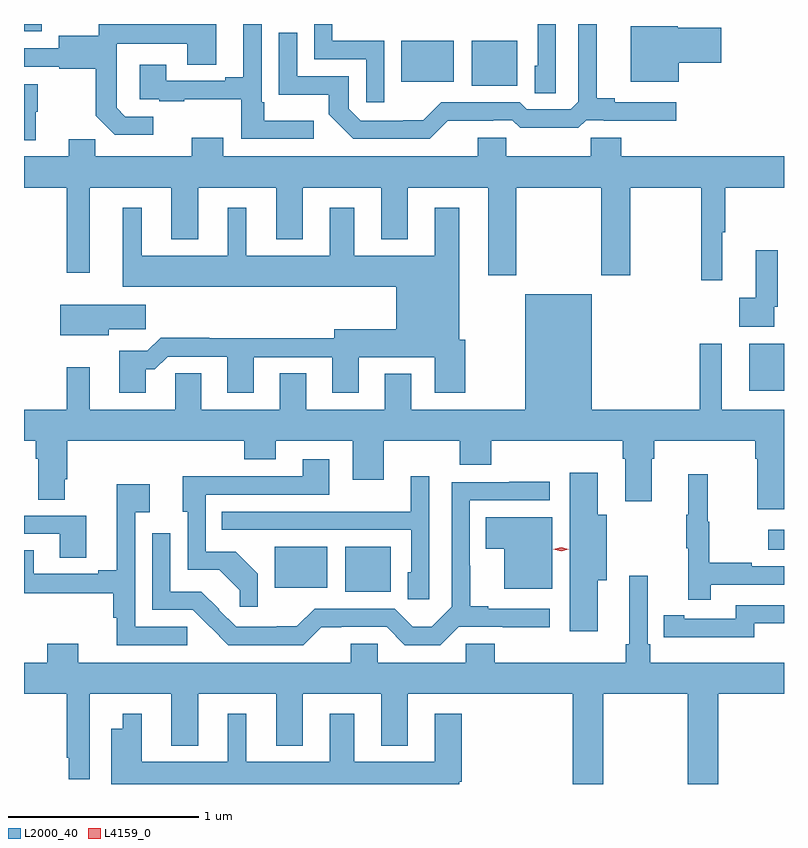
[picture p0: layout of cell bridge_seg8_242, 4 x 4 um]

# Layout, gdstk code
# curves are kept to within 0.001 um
import gdstk
lib = gdstk.Library(unit=1e-6, precision=1e-09)
def R(c, l, rs):  # rectangles x0, y0, x1, y1
    for r in rs: c.add(gdstk.rectangle(r[:2], r[2:], *l))
def P(c, l, *ps):  # polygons
    for p in ps: c.add(gdstk.Polygon(p, *l))
L2000_40 = (2000, 40)
L4159_0 = (4159, 0)

bridge_seg8_242 = lib.new_cell('bridge_seg8_242')
R(bridge_seg8_242, L2000_40, [(318.026,1133.021,318.265,1133.257), (317.654,1133.042,317.932,1133.257), (320.253,1133.243,320.335,1133.347), (320.153,1134.08,320.335,1134.325), (318.692,1135.685,318.931,1135.921), (318.32,1135.706,318.598,1135.921), (316.335,1135.971,316.429,1136.009)])
P(bridge_seg8_242, L2000_40, [(318.231,1135.92),(317.958,1135.92),(317.958,1136.009),(317.862,1136.009),(317.862,1135.824),(318.135,1135.824),(318.135,1135.596),(318.231,1135.596)],
  [(319.134,1136.009),(319.038,1136.009),(319.038,1135.788),(319.022,1135.788),(319.022,1135.645),(319.134,1135.645)],
  [(317.86,1135.501),(317.599,1135.501),(317.599,1135.597),(317.586,1135.597),(317.586,1136.009),(317.489,1136.009),(317.489,1135.729),(317.393,1135.729),(317.393,1135.71),(317.083,1135.71),(317.083,1135.795),(316.943,1135.795),(316.943,1135.614),(317.047,1135.614),(317.047,1135.602),(317.179,1135.602),(317.179,1135.613),(317.478,1135.613),(317.478,1135.404),(317.86,1135.404)],
  [(317.014,1135.521),(316.869,1135.521),(316.822,1135.568),(316.822,1135.663),(316.824,1135.663),(316.824,1135.904),(317.195,1135.904),(317.195,1135.795),(317.347,1135.795),(317.347,1136.009),(316.728,1136.009),(316.728,1135.948),(316.517,1135.948),(316.517,1135.881),(316.335,1135.881),(316.335,1135.785),(316.521,1135.785),(316.521,1135.773),(316.713,1135.773),(316.713,1135.527),(316.813,1135.427),(317.014,1135.427)],
  [(318.566,1135.499),(318.806,1135.499),(318.806,1135.503),(318.906,1135.503),(318.946,1135.464),(319.253,1135.464),(319.293,1135.503),(319.387,1135.503),(319.387,1135.499),(319.768,1135.499),(319.768,1135.596),(319.444,1135.596),(319.444,1135.619),(319.349,1135.619),(319.349,1136.009),(319.251,1136.009),(319.251,1135.599),(319.212,1135.56),(318.981,1135.56),(318.945,1135.596),(318.531,1135.596),(318.437,1135.502),(318.332,1135.502),(318.332,1135.5),(318.108,1135.5),(318.045,1135.563),(318.045,1135.734),(317.772,1135.734),(317.772,1135.963),(317.676,1135.963),(317.676,1135.637),(317.938,1135.637),(317.938,1135.535),(318.068,1135.404),(318.471,1135.404)],
  [(319.78,1135.805),(320.005,1135.805),(320.005,1135.988),(319.776,1135.988),(319.776,1135.996),(319.529,1135.996),(319.529,1135.706),(319.78,1135.706)],
  [(316.396,1135.548),(316.408,1135.548),(316.408,1135.692),(316.335,1135.692),(316.335,1135.397),(316.396,1135.397)],
  [(320.009,1134.912),(320.027,1134.912),(320.027,1135.148),(320.335,1135.148),(320.335,1135.312),(319.478,1135.312),(319.478,1135.41),(319.318,1135.41),(319.318,1135.312),(318.873,1135.312),(318.873,1135.41),(318.722,1135.41),(318.722,1135.312),(317.383,1135.312),(317.383,1135.411),(317.219,1135.411),(317.219,1135.312),(316.709,1135.312),(316.709,1135.403),(316.571,1135.403),(316.571,1135.312),(316.335,1135.312),(316.335,1135.148),(316.56,1135.148),(316.56,1134.699),(316.681,1134.699),(316.681,1135.148),(317.111,1135.148),(317.111,1134.875),(317.251,1134.875),(317.251,1135.148),(317.663,1135.148),(317.663,1134.875),(317.803,1134.875),(317.803,1135.148),(318.215,1135.148),(318.215,1134.875),(318.355,1134.875),(318.355,1135.148),(318.779,1135.148),(318.779,1134.687),(318.927,1134.687),(318.927,1135.148),(319.372,1135.148),(319.372,1134.687),(319.527,1134.687),(319.527,1135.148),(319.899,1135.148),(319.899,1134.66),(320.009,1134.66)],
  [(316.975,1134.191),(317.024,1134.191),(317.091,1134.258),(317.405,1134.258),(317.405,1134.069),(317.545,1134.069),(317.545,1134.255),(317.957,1134.255),(317.957,1134.069),(318.097,1134.069),(318.097,1134.254),(318.497,1134.254),(318.497,1134.069),(318.657,1134.069),(318.657,1134.348),(318.625,1134.348),(318.625,1135.042),(318.497,1135.042),(318.497,1134.79),(318.073,1134.79),(318.073,1135.042),(317.945,1135.042),(317.945,1134.79),(317.506,1134.79),(317.506,1135.042),(317.408,1135.042),(317.408,1134.79),(316.954,1134.79),(316.954,1135.042),(316.856,1135.042),(316.856,1134.626),(318.293,1134.626),(318.293,1134.403),(317.969,1134.403),(317.969,1134.356),(317.309,1134.356),(317.309,1134.359),(317.054,1134.359),(316.984,1134.289),(316.835,1134.289),(316.835,1134.069),(316.975,1134.069)],
  [(320.283,1134.52),(320.303,1134.52),(320.303,1134.817),(320.186,1134.817),(320.186,1134.569),(320.1,1134.569),(320.1,1134.416),(320.283,1134.416)],
  [(320.335,1133.98),(320.008,1133.98),(320.008,1134.325),(319.891,1134.325),(319.891,1133.98),(319.324,1133.98),(319.324,1134.586),(318.974,1134.586),(318.974,1133.98),(318.373,1133.98),(318.373,1134.169),(318.233,1134.169),(318.233,1133.98),(317.821,1133.98),(317.821,1134.17),(317.681,1134.17),(317.681,1133.98),(317.269,1133.98),(317.269,1134.17),(317.13,1134.17),(317.13,1133.98),(316.681,1133.98),(316.681,1134.202),(316.56,1134.202),(316.56,1133.98),(316.335,1133.98),(316.335,1133.816),(316.397,1133.816),(316.397,1133.72),(316.409,1133.72),(316.409,1133.506),(316.549,1133.506),(316.549,1133.614),(316.562,1133.614),(316.562,1133.816),(317.495,1133.816),(317.495,1133.717),(317.659,1133.717),(317.659,1133.816),(318.065,1133.816),(318.065,1133.61),(318.229,1133.61),(318.229,1133.816),(318.629,1133.816),(318.629,1133.688),(318.793,1133.688),(318.793,1133.816),(319.487,1133.816),(319.487,1133.72),(319.499,1133.72),(319.499,1133.496),(319.639,1133.496),(319.639,1133.72),(319.652,1133.72),(319.652,1133.816),(320.183,1133.816),(320.183,1133.72),(320.195,1133.72),(320.195,1133.454),(320.335,1133.454)],
  [(316.78,1134.403),(316.975,1134.403),(316.975,1134.532),(316.526,1134.532),(316.526,1134.371),(316.78,1134.371)],
  [(317.565,1133.116),(317.449,1133.232),(317.292,1133.232),(317.292,1133.532),(317.941,1133.532),(317.941,1133.719),(317.801,1133.719),(317.801,1133.628),(317.389,1133.628),(317.389,1133.63),(317.171,1133.63),(317.171,1133.442),(317.196,1133.442),(317.196,1133.136),(317.362,1133.136),(317.47,1133.028),(317.47,1132.941),(317.565,1132.941)],
  [(319.354,1133.081),(319.402,1133.081),(319.402,1133.425),(319.354,1133.425),(319.354,1133.647),(319.208,1133.647),(319.208,1132.812),(319.354,1132.812)],
  [(319.949,1133.058),(320.335,1133.058),(320.335,1133.154),(320.165,1133.154),(320.165,1133.174),(319.942,1133.174),(319.942,1133.388),(319.934,1133.388),(319.934,1133.638),(319.832,1133.638),(319.832,1133.425),(319.821,1133.425),(319.821,1133.251),(319.832,1133.251),(319.832,1132.98),(319.949,1132.98)],
  [(318.468,1133.629),(318.371,1133.629),(318.371,1133.443),(318.037,1133.443),(318.037,1133.442),(317.377,1133.442),(317.377,1133.346),(318.372,1133.346),(318.372,1133.124),(318.356,1133.124),(318.356,1132.981),(318.468,1132.981)],
  [(317.9,1132.835),(318.243,1132.836),(318.339,1132.74),(318.526,1132.74),(318.622,1132.836),(319.102,1132.835),(319.102,1132.932),(318.778,1132.932),(318.778,1132.945),(318.683,1132.945),(318.683,1133.159),(318.681,1133.159),(318.681,1133.502),(319.102,1133.502),(319.102,1133.6),(318.889,1133.6),(318.889,1133.598),(318.585,1133.598),(318.585,1132.941),(318.481,1132.837),(318.38,1132.837),(318.285,1132.932),(317.865,1132.932),(317.771,1132.838),(317.666,1132.838),(317.666,1132.836),(317.451,1132.836),(317.361,1132.926),(317.363,1132.928),(317.269,1133.022),(317.106,1133.022),(317.106,1133.329),(317.01,1133.329),(317.01,1132.926),(317.223,1132.926),(317.411,1132.74),(317.805,1132.74)],
  [(317.193,1132.836),(316.92,1132.836),(316.92,1133.438),(316.996,1133.438),(316.996,1133.587),(316.823,1133.587),(316.823,1133.135),(316.727,1133.135),(316.727,1133.115),(316.387,1133.115),(316.387,1133.24),(316.335,1133.24),(316.335,1133.014),(316.804,1133.014),(316.804,1132.883),(316.823,1132.883),(316.823,1132.74),(317.193,1132.74)],
  [(316.663,1133.421),(316.335,1133.421),(316.335,1133.325),(316.523,1133.325),(316.523,1133.2),(316.663,1133.2)],
  [(319.114,1133.413),(318.766,1133.413),(318.766,1133.248),(318.863,1133.248),(318.863,1133.036),(319.114,1133.036)],
  [(319.383,1132.484),(319.828,1132.484),(319.828,1132.009),(319.988,1132.009),(319.988,1132.484),(320.335,1132.484),(320.335,1132.648),(319.631,1132.648),(319.631,1132.744),(319.617,1132.744),(319.617,1133.104),(319.52,1133.104),(319.52,1132.744),(319.501,1132.744),(319.501,1132.648),(318.812,1132.648),(318.812,1132.746),(318.66,1132.746),(318.66,1132.648),(318.198,1132.648),(318.198,1132.746),(318.056,1132.746),(318.056,1132.648),(316.621,1132.648),(316.621,1132.747),(316.457,1132.747),(316.457,1132.648),(316.335,1132.648),(316.335,1132.484),(316.56,1132.484),(316.56,1132.147),(316.57,1132.147),(316.57,1132.035),(316.681,1132.035),(316.681,1132.484),(317.111,1132.484),(317.111,1132.211),(317.251,1132.211),(317.251,1132.484),(317.663,1132.484),(317.663,1132.211),(317.803,1132.211),(317.803,1132.484),(318.215,1132.484),(318.215,1132.211),(318.355,1132.211),(318.355,1132.484),(319.223,1132.484),(319.223,1132.009),(319.383,1132.009)],
  [(320.178,1132.854),(320.335,1132.854),(320.335,1132.95),(320.082,1132.95),(320.082,1132.878),(319.81,1132.878),(319.81,1132.898),(319.702,1132.898),(319.702,1132.782),(319.81,1132.782),(319.81,1132.781),(320.178,1132.781)],
  [(318.625,1132.022),(318.638,1132.022),(318.638,1132.378),(318.497,1132.378),(318.497,1132.126),(318.073,1132.126),(318.073,1132.378),(317.945,1132.378),(317.945,1132.126),(317.506,1132.126),(317.506,1132.378),(317.408,1132.378),(317.408,1132.126),(316.954,1132.126),(316.954,1132.378),(316.856,1132.378),(316.856,1132.3),(316.793,1132.3),(316.793,1132.009),(318.625,1132.009)])
P(bridge_seg8_242, L4159_0, [(319.162,1133.235),(319.121,1133.244),(319.121,1133.245),(319.121,1133.245),(319.162,1133.255),(319.202,1133.245),(319.202,1133.245),(319.202,1133.245)])

lib.write_gds('bridge_seg8_242.gds')
